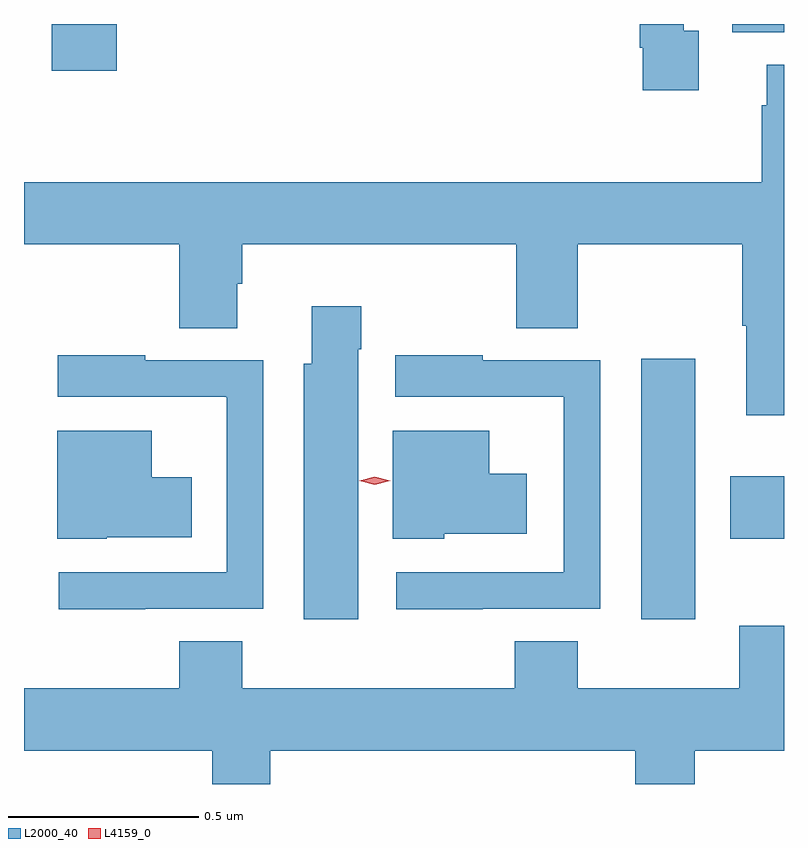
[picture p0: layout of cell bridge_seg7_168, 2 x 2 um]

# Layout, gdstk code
import gdstk
lib = gdstk.Library(unit=1e-6, precision=1e-09)
def R(c, l, rs):  # rectangles x0, y0, x1, y1
    for r in rs: c.add(gdstk.rectangle(r[:2], r[2:], *l))
def P(c, l, *ps):  # polygons
    for p in ps: c.add(gdstk.Polygon(p, *l))
L2000_40 = (2000, 40)
L4159_0 = (4159, 0)

bridge_seg7_168 = lib.new_cell('bridge_seg7_168')
R(bridge_seg7_168, L2000_40, [(468.149,1022.274,468.292,1022.959), (468.384,1022.486,468.525,1022.65), (466.598,1023.717,466.769,1023.84), (468.389,1023.818,468.525,1023.84)])
P(bridge_seg7_168, L2000_40, [(468.301,1023.822),(468.261,1023.822),(468.261,1023.84),(468.145,1023.84),(468.145,1023.778),(468.153,1023.778),(468.153,1023.666),(468.301,1023.666)],
  [(468.525,1023.733),(468.479,1023.733),(468.479,1023.626),(468.467,1023.626),(468.467,1023.424),(466.525,1023.424),(466.525,1023.26),(466.933,1023.26),(466.933,1023.04),(467.086,1023.04),(467.086,1023.156),(467.099,1023.156),(467.099,1023.26),(467.821,1023.26),(467.821,1023.04),(467.982,1023.04),(467.982,1023.26),(468.415,1023.26),(468.415,1023.046),(468.425,1023.046),(468.425,1022.811),(468.525,1022.811)],
  [(467.404,1022.984),(467.412,1022.984),(467.412,1023.097),(467.282,1023.097),(467.282,1022.946),(467.261,1022.946),(467.261,1022.274),(467.404,1022.274)],
  [(467.732,1022.301),(468.042,1022.301),(468.042,1022.955),(467.732,1022.955),(467.732,1022.968),(467.502,1022.968),(467.502,1022.859),(467.945,1022.859),(467.945,1022.858),(467.946,1022.858),(467.946,1022.397),(467.505,1022.397),(467.505,1022.3),(467.732,1022.3)],
  [(466.844,1022.301),(467.154,1022.301),(467.154,1022.955),(466.844,1022.955),(466.844,1022.968),(466.614,1022.968),(466.614,1022.859),(467.057,1022.859),(467.057,1022.858),(467.058,1022.858),(467.058,1022.397),(466.617,1022.397),(466.617,1022.3),(466.844,1022.3)],
  [(467.631,1022.498),(467.848,1022.498),(467.848,1022.656),(467.749,1022.656),(467.749,1022.77),(467.495,1022.77),(467.495,1022.486),(467.631,1022.486)],
  [(466.743,1022.489),(466.966,1022.489),(466.966,1022.647),(466.861,1022.647),(466.861,1022.77),(466.613,1022.77),(466.613,1022.486),(466.743,1022.486)],
  [(467.173,1021.928),(468.133,1021.928),(468.133,1021.84),(468.29,1021.84),(468.29,1021.928),(468.525,1021.928),(468.525,1022.257),(468.407,1022.257),(468.407,1022.092),(467.982,1022.092),(467.982,1022.216),(467.816,1022.216),(467.816,1022.092),(467.099,1022.092),(467.099,1022.216),(466.933,1022.216),(466.933,1022.092),(466.525,1022.092),(466.525,1021.928),(467.021,1021.928),(467.021,1021.84),(467.173,1021.84)])
P(bridge_seg7_168, L4159_0, [(467.448,1022.628),(467.407,1022.638),(467.407,1022.638),(467.407,1022.638),(467.448,1022.648),(467.489,1022.638),(467.489,1022.638),(467.489,1022.638)])

lib.write_gds('bridge_seg7_168.gds')
